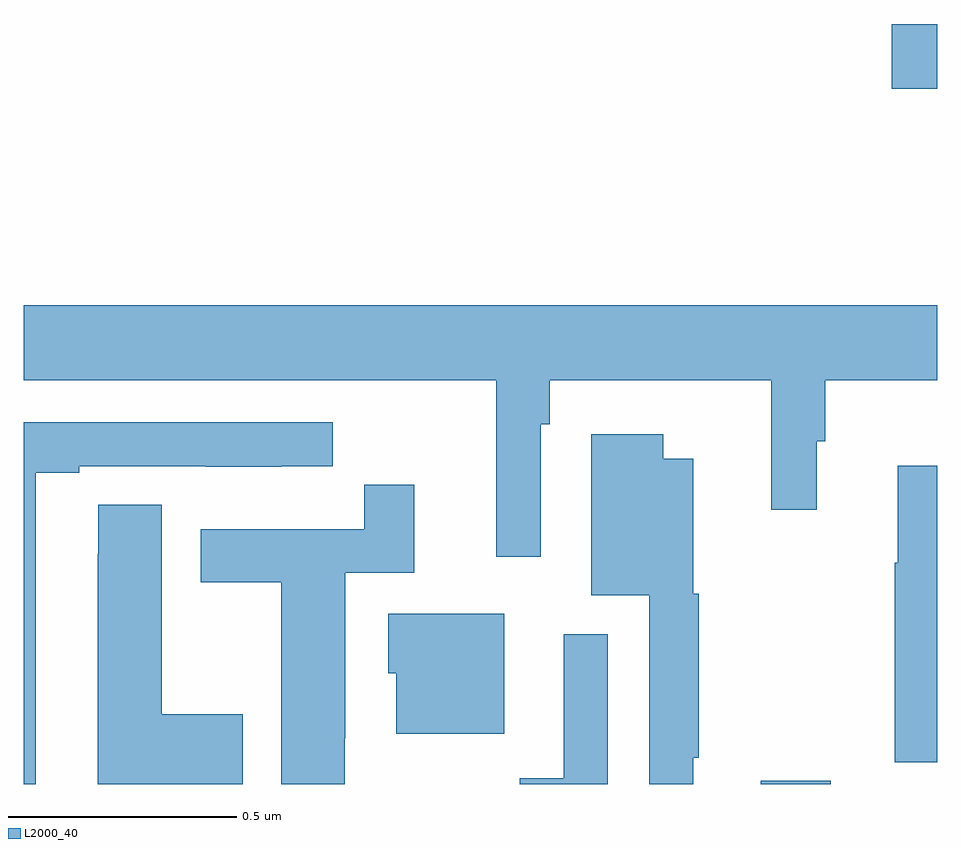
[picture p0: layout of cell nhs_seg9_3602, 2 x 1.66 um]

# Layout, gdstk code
import gdstk
lib = gdstk.Library(unit=1e-6, precision=1e-09)
def R(c, l, rs):  # rectangles x0, y0, x1, y1
    for r in rs: c.add(gdstk.rectangle(r[:2], r[2:], *l))
def P(c, l, *ps):  # polygons
    for p in ps: c.add(gdstk.Polygon(p, *l))
L2000_40 = (2000, 40)

nhs_seg9_3602 = lib.new_cell('nhs_seg9_3602')
R(nhs_seg9_3602, L2000_40, [(156.614,1231.5,156.767,1231.507), (156.9,1233.022,157,1233.164)])
P(nhs_seg9_3602, L2000_40, [(155,1232.384),(156.035,1232.384),(156.035,1231.998),(156.132,1231.998),(156.132,1232.288),(156.152,1232.288),(156.152,1232.384),(156.637,1232.384),(156.637,1232.1),(156.736,1232.1),(156.736,1232.25),(156.755,1232.25),(156.755,1232.384),(157,1232.384),(157,1232.548),(155,1232.548)],
  [(155.026,1232.181),(155.122,1232.181),(155.122,1232.196),(155.398,1232.196),(155.398,1232.195),(155.564,1232.195),(155.564,1232.196),(155.677,1232.196),(155.677,1232.292),(155,1232.292),(155,1231.5),(155.026,1231.5)],
  [(156.466,1231.558),(156.478,1231.558),(156.478,1231.917),(156.466,1231.917),(156.466,1232.212),(156.4,1232.212),(156.4,1232.266),(156.242,1232.266),(156.242,1231.913),(156.369,1231.913),(156.369,1231.5),(156.466,1231.5)],
  [(157,1232.197),(156.914,1232.197),(156.914,1231.984),(156.907,1231.984),(156.907,1231.548),(157,1231.548)],
  [(155.703,1231.6),(155.704,1231.6),(155.704,1231.962),(155.855,1231.962),(155.855,1232.155),(155.746,1232.155),(155.746,1232.058),(155.387,1232.058),(155.387,1231.942),(155.564,1231.942),(155.564,1231.5),(155.703,1231.5)],
  [(155.479,1231.653),(155.302,1231.653),(155.302,1232.111),(155.163,1232.111),(155.163,1232.003),(155.162,1232.003),(155.162,1231.5),(155.479,1231.5)],
  [(156.052,1231.873),(155.798,1231.873),(155.798,1231.743),(155.816,1231.743),(155.816,1231.61),(156.052,1231.61)],
  [(156.279,1231.828),(156.182,1231.828),(156.182,1231.513),(156.086,1231.513),(156.086,1231.5),(156.279,1231.5)])

lib.write_gds('nhs_seg9_3602.gds')
